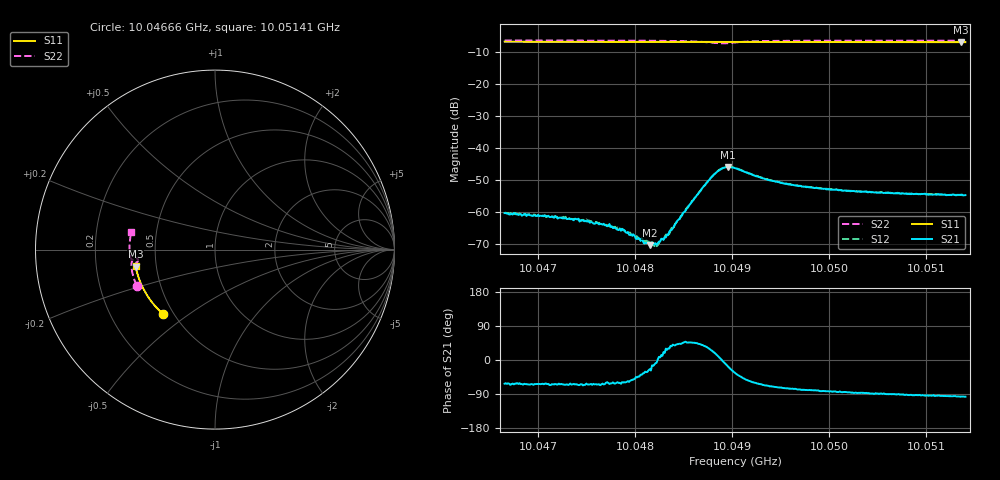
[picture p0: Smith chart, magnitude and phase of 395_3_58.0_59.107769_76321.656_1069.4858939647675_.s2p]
#  HZ  S  RI  R  50.00
! Rohde & Schwarz Vector Network Analyzer
! Rohde-Schwarz,ZNB20-2Port,1311601062101988,3.16
! Created: UTC 3/21/2024, 1:08:01 AM
! freq[Hz]  re:S11  im:S11  re:S21  im:S21  re:S12  im:S12  re:S22  im:S22
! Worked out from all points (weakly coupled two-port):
!   401 points, 10.04666 GHz to 10.05141 GHz, reference 50 ohm
!   highest |S21| = -46.03 dB at 10.04896 GHz (marker M1); lowest = -70.6 dB at 10.04815 GHz (marker M2)
!   lowest |S11| = -6.9 dB at 10.05136 GHz (marker M3), VSWR 2.65, Z = 19.1 - j4.51 ohm
!   |S11| at or under -10 dB: nowhere
!   |S22| runs from -7.3 to -6.4 dB; largest |S21 - S12| = 0.00033
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1.0046655e10  -0.2906 -0.3571  0.000438 -0.000843  0.000503 -0.000813  -0.4368 -0.2005
1.0047083e10  -0.3114 -0.3378  0.000401 -0.000757  0.000417 -0.000713  -0.4472 -0.1735
1.0047451e10  -0.3283 -0.3202  0.000324 -0.00066  0.000343 -0.000654  -0.455 -0.1493
1.0047605e10  -0.3351 -0.3127  0.000291 -0.000612  0.000333 -0.000591  -0.458 -0.139
1.0047866e10  -0.3462 -0.2996  0.000282 -0.000457  0.000322 -0.000435  -0.4621 -0.1208
1.004808e10  -0.3549 -0.2883  0.000283 -0.000202  0.000297 -0.00022  -0.4646 -0.1052
1.0048152e10  -0.3576 -0.2847  0.00027 -0.000121  0.000285 -0.000127  -0.4653 -0.0997
1.0048211e10  -0.3603 -0.2814  0.000317 -4.71e-05  0.000312 -1.15e-05  -0.4657 -0.0951
1.0048247e10  -0.3615 -0.2796  0.000337 4.81e-05  0.000318 4.07e-05  -0.4658 -0.0922
1.0048318e10  -0.3644 -0.2758  0.000342 0.000197  0.000396 0.000186  -0.466 -0.0862
1.0048377e10  -0.3666 -0.2726  0.000417 0.000304  0.000454 0.000326  -0.4658 -0.0811
1.004852e10  -0.3718 -0.2648  0.000684 0.000768  0.000682 0.00081  -0.4636 -0.068
1.0048781e10  -0.381 -0.2503  0.00302 0.00151  0.0029 0.00171  -0.4428 -0.047
1.0048876e10  -0.3839 -0.245  0.00451 0.000394  0.00454 0.000685  -0.4302 -0.054
1.0048959e10  -0.3866 -0.2405  0.00477 -0.00149  0.00485 -0.00123  -0.431 -0.0672
1.004903e10  -0.3891 -0.2366  0.00398 -0.00269  0.00417 -0.00245  -0.4406 -0.073
1.0049375e10  -0.4001 -0.2167  0.00117 -0.00291  0.00134 -0.00287  -0.4694 -0.0487
1.0049826e10  -0.4127 -0.1899  0.00043 -0.00234  0.000537 -0.00234  -0.4759 -0.0126
1.0050194e10  -0.4217 -0.1675  0.000161 -0.00211  0.000293 -0.00211  -0.4763 0.0138
1.0050622e10  -0.4307 -0.1409  -6.21e-07 -0.00196  0.000122 -0.00196  -0.4746 0.0435
1.0051358e10  -0.4421 -0.0942  -0.000206 -0.00181  -0.000102 -0.00184  -0.4671 0.0925
1.0051406e10  -0.4428 -0.0911  -0.000213 -0.0018  -0.000142 -0.00184  -0.4664 0.0955
